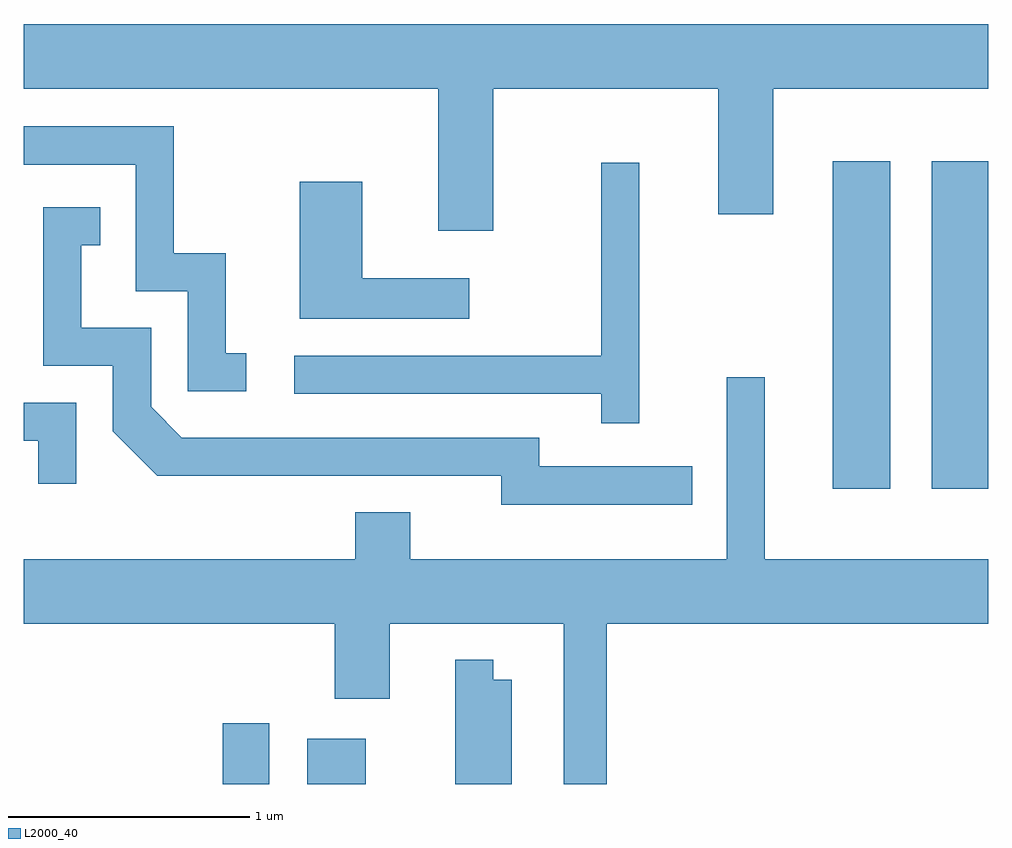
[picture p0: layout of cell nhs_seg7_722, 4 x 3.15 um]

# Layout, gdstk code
import gdstk
lib = gdstk.Library(unit=1e-6, precision=1e-09)
def R(c, l, rs):  # rectangles x0, y0, x1, y1
    for r in rs: c.add(gdstk.rectangle(r[:2], r[2:], *l))
def P(c, l, *ps):  # polygons
    for p in ps: c.add(gdstk.Polygon(p, *l))
L2000_40 = (2000, 40)

nhs_seg7_722 = lib.new_cell('nhs_seg7_722')
R(nhs_seg7_722, L2000_40, [(206.436,1780.252,206.629,1780.504), (206.786,1780.252,207.029,1780.439), (208.966,1781.476,209.204,1782.834), (209.376,1781.476,209.611,1782.834)])
P(nhs_seg7_722, L2000_40, [(207.559,1783.136),(208.491,1783.136),(208.491,1782.616),(208.719,1782.616),(208.719,1783.136),(209.611,1783.136),(209.611,1783.404),(205.611,1783.404),(205.611,1783.136),(207.331,1783.136),(207.331,1782.546),(207.559,1782.546)],
  [(206.533,1782.039),(206.449,1782.039),(206.449,1782.454),(206.234,1782.454),(206.234,1782.979),(205.611,1782.979),(205.611,1782.821),(206.076,1782.821),(206.076,1782.296),(206.291,1782.296),(206.291,1781.881),(206.533,1781.881)],
  [(208.164,1782.828),(208.006,1782.828),(208.006,1782.029),(206.733,1782.029),(206.733,1781.871),(208.006,1781.871),(208.006,1781.748),(208.164,1781.748)],
  [(207.458,1782.349),(207.014,1782.349),(207.014,1782.749),(206.756,1782.749),(206.756,1782.181),(207.458,1782.181)],
  [(208.383,1781.569),(207.749,1781.569),(207.749,1781.689),(206.267,1781.689),(206.139,1781.817),(206.139,1782.144),(205.849,1782.144),(205.849,1782.486),(205.928,1782.486),(205.928,1782.644),(205.691,1782.644),(205.691,1781.986),(205.981,1781.986),(205.981,1781.714),(206.164,1781.531),(207.591,1781.531),(207.591,1781.411),(208.383,1781.411)],
  [(208.029,1780.916),(209.611,1780.916),(209.611,1781.184),(208.684,1781.184),(208.684,1781.938),(208.526,1781.938),(208.526,1781.184),(207.214,1781.184),(207.214,1781.379),(206.986,1781.379),(206.986,1781.184),(205.611,1781.184),(205.611,1780.916),(206.901,1780.916),(206.901,1780.606),(207.129,1780.606),(207.129,1780.916),(207.851,1780.916),(207.851,1780.252),(208.029,1780.252)],
  [(205.829,1781.834),(205.611,1781.834),(205.611,1781.676),(205.671,1781.676),(205.671,1781.498),(205.829,1781.498)],
  [(207.634,1780.684),(207.559,1780.684),(207.559,1780.768),(207.401,1780.768),(207.401,1780.252),(207.634,1780.252)])

lib.write_gds('nhs_seg7_722.gds')
